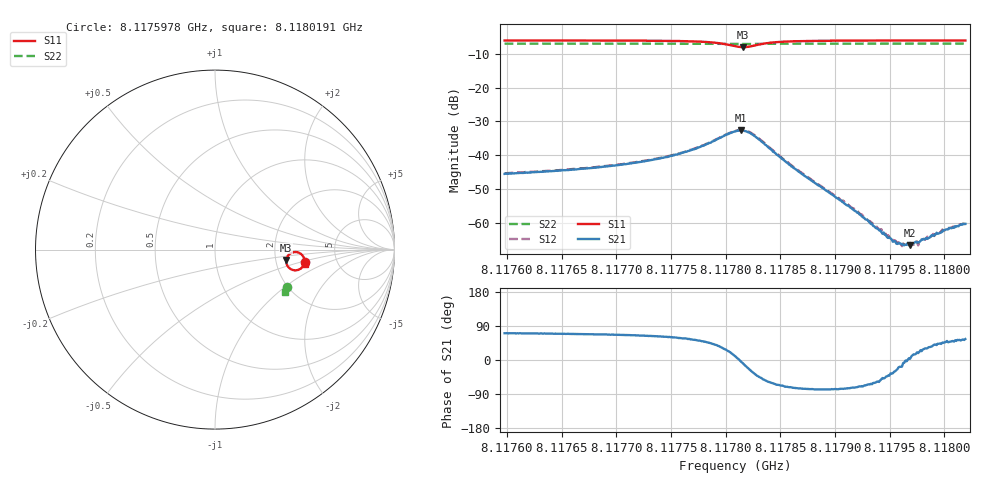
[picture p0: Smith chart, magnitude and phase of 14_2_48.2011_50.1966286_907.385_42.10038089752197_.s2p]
#  HZ  S  RI  R  50.00
! Rohde & Schwarz Vector Network Analyzer
! Rohde-Schwarz,ZNB20-2Port,1311601062101988,3.16
! Created: UTC 3/20/2024, 11:36:40 AM
! freq[Hz]  re:S11  im:S11  re:S21  im:S21  re:S12  im:S12  re:S22  im:S22
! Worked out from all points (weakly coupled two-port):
!   401 points, 8.1175978 GHz to 8.1180191 GHz, reference 50 ohm
!   highest |S21| = -32.64 dB at 8.1178137 GHz (marker M1); lowest = -66.8 dB at 8.1179686 GHz (marker M2)
!   lowest |S11| = -7.9 dB at 8.1178158 GHz (marker M3), VSWR 2.34, Z = 114 - j15.9 ohm
!   |S11| at or under -10 dB: nowhere
!   |S22| runs from -7.0 to -6.9 dB; largest |S21 - S12| = 0.00067
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8.11759781e9  0.5004 -0.067  0.00175 0.00498  0.00182 0.00506  0.4015 -0.2085
8.11766839e9  0.4979 -0.0766  0.00233 0.00583  0.00242 0.0059  0.3993 -0.213
8.11770314e9  0.4955 -0.0829  0.0029 0.00658  0.003 0.00666  0.3982 -0.2153
8.11773896e9  0.4904 -0.0923  0.00416 0.00788  0.00425 0.00798  0.3968 -0.2179
8.11777266e9  0.4759 -0.1069  0.00753 0.00992  0.00784 0.0101  0.3948 -0.2203
8.11779583e9  0.4407 -0.1149  0.0153 0.0102  0.0155 0.0104  0.3926 -0.2215
8.11780847e9  0.405 -0.0926  0.0222 0.00405  0.0225 0.0042  0.3908 -0.2211
8.11781374e9  0.3968 -0.0691  0.0233 -0.00143  0.0237 -0.00114  0.3905 -0.2202
8.11781585e9  0.397 -0.0585  0.0228 -0.00362  0.0232 -0.00352  0.3906 -0.2197
8.11782111e9  0.4065 -0.0343  0.0199 -0.00868  0.0206 -0.00871  0.391 -0.219
8.11782638e9  0.4244 -0.0191  0.0155 -0.0114  0.016 -0.0116  0.3921 -0.219
8.11784639e9  0.4761 -0.0223  0.0043 -0.00934  0.0045 -0.00968  0.3938 -0.2209
8.11787905e9  0.4955 -0.0463  0.000956 -0.00401  0.0009 -0.00413  0.3934 -0.224
8.11791907e9  0.499 -0.0609  0.000448 -0.00139  0.000464 -0.00146  0.392 -0.2271
8.11794962e9  0.4993 -0.0677  0.000448 -0.000393  0.000449 -0.000403  0.391 -0.2293
8.11795488e9  0.4994 -0.0687  0.000461 -0.000263  0.000472 -0.000265  0.3908 -0.2297
8.1179612e9  0.4994 -0.0698  0.000459 -0.000141  0.000433 -0.00011  0.3907 -0.23
8.11796858e9  0.4993 -0.071  0.000457 2.67e-05  0.000499 2.6e-05  0.3905 -0.2305
8.11797384e9  0.4992 -0.0718  0.000499 0.000143  0.000493 0.000113  0.3901 -0.2308
8.11797911e9  0.4992 -0.0727  0.000504 0.000217  0.000507 0.000244  0.3899 -0.2312
8.11800333e9  0.4991 -0.0761  0.00054 0.000577  0.000551 0.000618  0.3892 -0.2327
8.11801913e9  0.4988 -0.0781  0.000543 0.000784  0.000552 0.000774  0.3887 -0.2338
